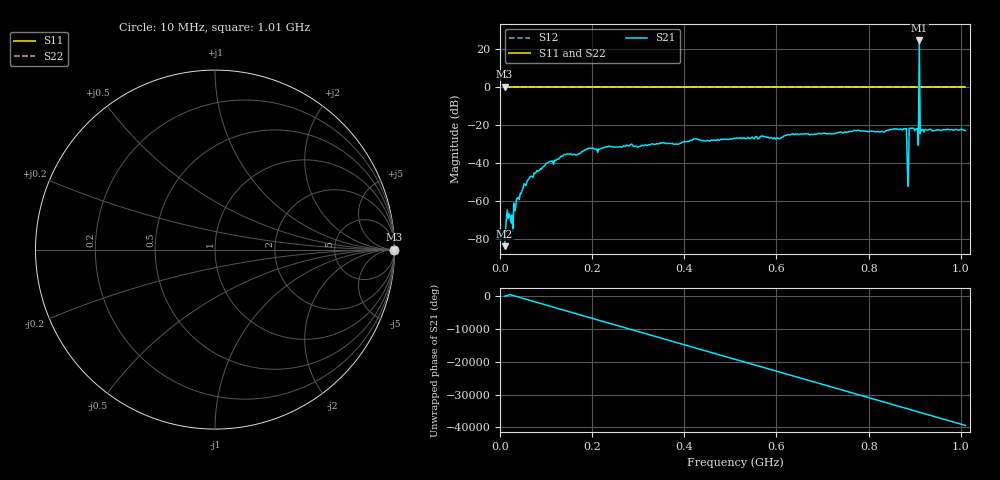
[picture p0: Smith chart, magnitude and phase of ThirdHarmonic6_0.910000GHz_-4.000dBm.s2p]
! 8/16/2025 5:47:00 AM
! C:\ANRITSUVNA\TEMP\TEMP.S2P
! CHANNEL.1
! TR.MEASUREMENT
! RAW.DATA
! RF.CORRECTION.OFF
! AVERAGING.OFF
! IF.BANDWIDTH: 5KHZ
! SWEEPTYPE:  FREQ.SWEEP(Linear)
! Reference Plane Port Info
! PORT:  PORT1  PORT2
! DISTANCE:  0  m  0  m
! TIME:  0  s  0  s
! PHASE.OFFSET:  0  deg.  0  deg.
! LOSS:  0  dB  0  dB
! REF.LOSS:  0  dB  0  dB
! REF.FREQ:  0  Hz  0  Hz
! Power Info
! POWER:  -20  dBm  -20  dBm
! EFF.POWER:  -20  dBm  -20  dBm
! SOURCE.ATTEN:  0  dB  0  dB
! TEST.ATTEN:  0  dB  0  dB
# GHZ S RI R 50.0
! FREQ.GHZ  S11RE  S11IM  S21RE  S21IM  S12RE  S12IM  S22RE  S22IM
!; PortSelection: Port_12
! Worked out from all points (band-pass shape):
!   501 points, 10 MHz to 1.01 GHz, reference 50 ohm
!   highest |S21| = 24.22 dB at 910 MHz (marker M1); lowest = -83.8 dB at 10 MHz (marker M2)
!   |S21| within 3 dB of the highest: 909.8911 MHz to 910.1226 MHz (231.5 kHz wide, 0.0254 % of centre)
!   lowest |S11| = 0.0 dB at 10 MHz (marker M3)
!   |S11| at or under -10 dB: nowhere
!   |S22| runs from 0.0 to 0.0 dB; largest |S21 - S12| = 17
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0.01  1 0  -2.82e-05 -5.83e-05  1 0  1 0
0.018  1 0  -0.000271 -0.000219  1 0  1 0
0.024  1 0  0.000115 -0.000236  1 0  1 0
0.028  1 0  -0.000155 -1.98e-05  1 0  1 0
0.034  1 0  0.000168 -0.000642  1 0  1 0
0.064  1 0  -0.00286 0.00283  1 0  1 0
0.104  1 0  0.00602 -0.0081  1 0  1 0
0.178  1 0  -0.0192 -0.00528  1 0  1 0
0.344  1 0  0.0312 -0.00429  1 0  1 0
0.51  1 0  -0.0426 0.0106  1 0  1 0
0.678  1 0  -0.0155 -0.0532  1 0  1 0
0.844  1 0  0.0371 0.061  1 0  1 0
0.878  1 0  -0.0462 0.0643  1 0  1 0
0.882  1 0  0.0649 -0.0446  1 0  1 0
0.888  1 0  0.01 0.0803  1 0  1 0
0.892  1 0  0.0131 -0.0795  1 0  1 0
0.904  1 0  -0.0704 0.0344  1 0  1 0
0.906  1 0  0.0235 0.0758  1 0  1 0
0.91  1 0  -8.452 -13.89  1 0  1 0
0.914  1 0  -0.0249 0.0698  1 0  1 0
0.916  1 0  0.0632 0.037  1 0  1 0
1.01  1 0  -0.0635 -0.0303  1 0  1 0
